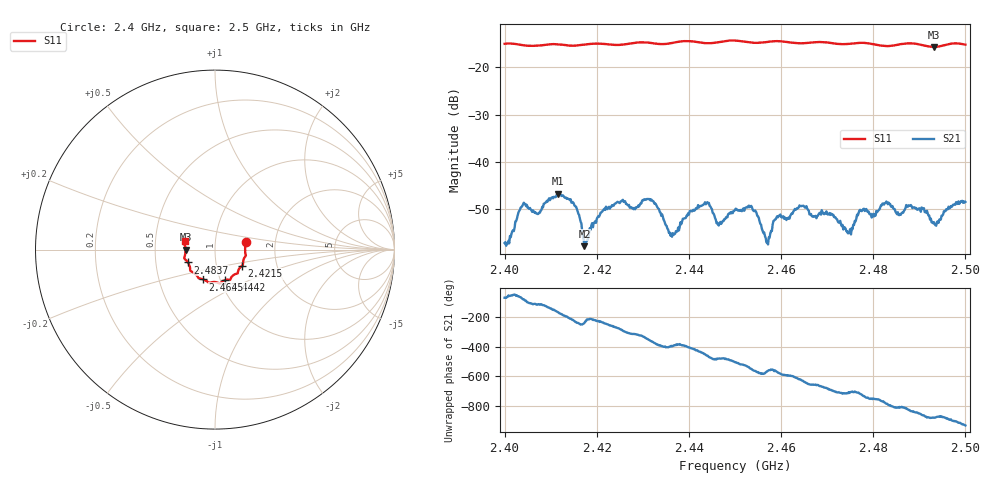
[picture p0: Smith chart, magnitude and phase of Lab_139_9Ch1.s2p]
# Hz S RI R 50
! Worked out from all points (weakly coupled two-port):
!   601 points, 2.4 GHz to 2.5 GHz, reference 50 ohm
!   highest |S21| = -46.69 dB at 2.4115 GHz (marker M1); lowest = -57.7 dB at 2.4173 GHz (marker M2)
!   lowest |S11| = -15.7 dB at 2.4932 GHz (marker M3), VSWR 1.39, Z = 36 - j0.0497 ohm
!   |S11| at or under -10 dB: start of sweep to end of sweep
!   S12 and S22 are empty: the file has one direction only
!   S11 on the Smith chart (normalised r, x): 2.4 GHz: 1.41, +0.12; 2.4215 GHz: 1.33, -0.25; 2.4442 GHz: 1.05, -0.37; 2.4645 GHz: 0.83, -0.29; 2.4837 GHz: 0.73, -0.11; 2.5 GHz: 0.71, +0.07
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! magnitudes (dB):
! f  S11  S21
! 2.4 GHz  -15.1  -57.1
! 2.404 GHz  -15.4  -49.0
! 2.4115 GHz  -15.2  -46.7
! 2.4167 GHz  -15.3  -52.9
! 2.4173 GHz  -15.2  -57.7
! 2.4215 GHz  -15.1  -50.0
! 2.4333 GHz  -15.1  -49.8
! 2.4365 GHz  -14.9  -55.0
! 2.4442 GHz  -15.0  -48.7
! 2.4465 GHz  -14.7  -53.4
! 2.45 GHz  -14.4  -50.1
! 2.454 GHz  -14.9  -50.3
! 2.457 GHz  -14.7  -56.8
! 2.459 GHz  -14.5  -51.7
! 2.4645 GHz  -15.0  -49.3
! 2.4667 GHz  -14.8  -51.4
! 2.4747 GHz  -15.1  -55.0
! 2.4775 GHz  -14.9  -50.4
! 2.4833 GHz  -15.6  -48.6
! 2.4837 GHz  -15.5  -48.8
! 2.4932 GHz  -15.7  -52.7
! 2.5 GHz  -15.3  -48.4
